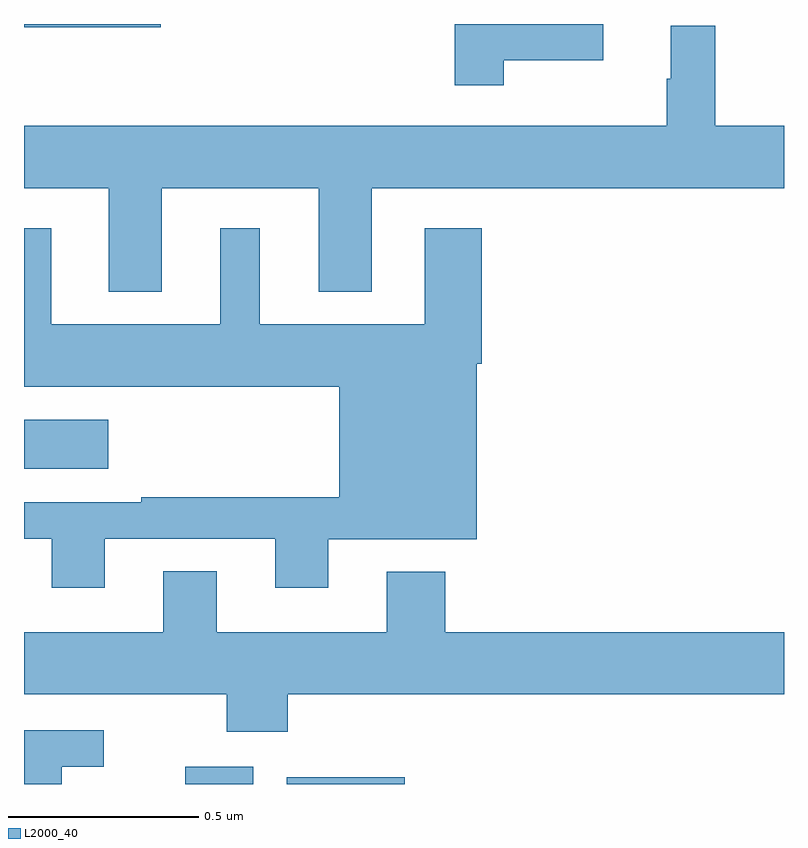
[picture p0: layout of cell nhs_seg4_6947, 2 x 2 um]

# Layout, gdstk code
import gdstk
lib = gdstk.Library(unit=1e-6, precision=1e-09)
def R(c, l, rs):  # rectangles x0, y0, x1, y1
    for r in rs: c.add(gdstk.rectangle(r[:2], r[2:], *l))
def P(c, l, *ps):  # polygons
    for p in ps: c.add(gdstk.Polygon(p, *l))
L2000_40 = (2000, 40)

nhs_seg4_6947 = lib.new_cell('nhs_seg4_6947')
R(nhs_seg4_6947, L2000_40, [(196.424,813.9,196.603,813.946), (196.692,813.9,197.002,813.918), (196,814.73,196.222,814.858), (196,815.891,196.36,815.9)])
P(nhs_seg4_6947, L2000_40, [(197.263,815.804),(197.524,815.804),(197.524,815.9),(197.134,815.9),(197.134,815.739),(197.263,815.739)],
  [(196.363,815.468),(196.775,815.468),(196.775,815.195),(196.915,815.195),(196.915,815.468),(198,815.468),(198,815.632),(197.819,815.632),(197.819,815.896),(197.702,815.896),(197.702,815.756),(197.691,815.756),(197.691,815.632),(196,815.632),(196,815.468),(196.223,815.468),(196.223,815.195),(196.363,815.195)],
  [(196.213,814.545),(196.661,814.545),(196.661,814.416),(196.801,814.416),(196.801,814.544),(197.191,814.544),(197.191,815.006),(197.204,815.006),(197.204,815.362),(197.054,815.362),(197.054,815.11),(196.621,815.11),(196.621,815.362),(196.517,815.362),(196.517,815.11),(196.072,815.11),(196.072,815.362),(196,815.362),(196,814.946),(196.829,814.946),(196.829,814.654),(196.309,814.654),(196.309,814.641),(196,814.641),(196,814.545),(196.073,814.545),(196.073,814.416),(196.213,814.416)],
  [(196.694,814.136),(198,814.136),(198,814.3),(197.108,814.3),(197.108,814.459),(196.955,814.459),(196.955,814.3),(196.507,814.3),(196.507,814.46),(196.367,814.46),(196.367,814.3),(196,814.3),(196,814.136),(196.534,814.136),(196.534,814.037),(196.694,814.037)],
  [(196.099,813.945),(196.21,813.945),(196.21,814.041),(196,814.041),(196,813.9),(196.099,813.9)])

lib.write_gds('nhs_seg4_6947.gds')
